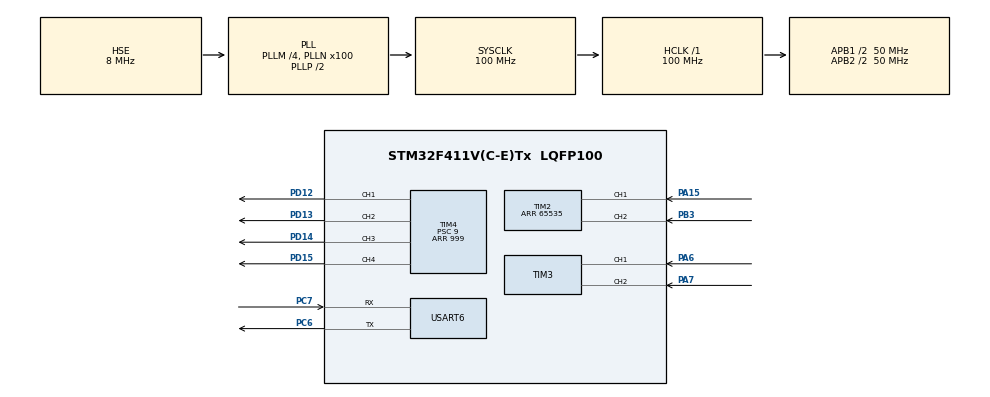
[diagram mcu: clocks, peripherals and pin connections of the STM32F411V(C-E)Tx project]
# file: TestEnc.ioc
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Dma.Request0=USART6_RX
Dma.USART6_RX.0.Direction=DMA_PERIPH_TO_MEMORY
Dma.USART6_RX.0.FIFOMode=DMA_FIFOMODE_DISABLE
Dma.USART6_RX.0.Instance=DMA2_Stream1
Dma.USART6_RX.0.MemDataAlignment=DMA_MDATAALIGN_BYTE
Dma.USART6_RX.0.MemInc=DMA_MINC_ENABLE
Dma.USART6_RX.0.Mode=DMA_NORMAL
Dma.USART6_RX.0.PeriphDataAlignment=DMA_PDATAALIGN_BYTE
Dma.USART6_RX.0.PeriphInc=DMA_PINC_DISABLE
Dma.USART6_RX.0.Priority=DMA_PRIORITY_LOW
Mcu.Family=STM32F4
Mcu.Name=STM32F411V(C-E)Tx
Mcu.Package=LQFP100
NVIC.DMA2_Stream1_IRQn=true\:0\:0\:false\:false\:true\:false\:true\:true
NVIC.PriorityGroup=NVIC_PRIORITYGROUP_4
NVIC.TIM5_IRQn=true\:0\:0\:false\:false\:true\:true\:true\:true
PA13.Mode=Serial_Wire
PA13.Signal=SYS_JTMS-SWDIO
PA14.Mode=Serial_Wire
PA14.Signal=SYS_JTCK-SWCLK
PA15.Signal=S_TIM2_CH1_ETR
PA6.Signal=S_TIM3_CH1
PA7.Signal=S_TIM3_CH2
PB3.Signal=S_TIM2_CH2
PC6.Mode=Asynchronous
PC6.Signal=USART6_TX
PC7.Mode=Asynchronous
PC7.Signal=USART6_RX
PD12.Signal=S_TIM4_CH1
PD13.Signal=S_TIM4_CH2
PD14.Signal=S_TIM4_CH3
PD15.Signal=S_TIM4_CH4
PH0\ -\ OSC_IN.Mode=HSE-External-Oscillator
PH0\ -\ OSC_IN.Signal=RCC_OSC_IN
PH1\ -\ OSC_OUT.Mode=HSE-External-Oscillator
PH1\ -\ OSC_OUT.Signal=RCC_OSC_OUT
ProjectManager.HeapSize=0x200
ProjectManager.StackSize=0x400
ProjectManager.TargetToolchain=MDK-ARM V5
RCC.48MHZClocksFreq_Value=50000000
RCC.AHBFreq_Value=100000000
RCC.APB1CLKDivider=RCC_HCLK_DIV2
RCC.APB1Freq_Value=50000000
RCC.APB1TimFreq_Value=100000000
RCC.APB2CLKDivider=RCC_HCLK_DIV2
RCC.APB2Freq_Value=50000000
RCC.APB2TimFreq_Value=100000000
RCC.CortexFreq_Value=100000000
RCC.HCLKFreq_Value=100000000
RCC.HSE_VALUE=8000000
RCC.HSI_VALUE=16000000
RCC.LSE_VALUE=32768
RCC.PLLM=4
RCC.PLLN=100
RCC.PLLSourceVirtual=RCC_PLLSOURCE_HSE
RCC.SYSCLKFreq_VALUE=100000000
RCC.SYSCLKSource=RCC_SYSCLKSOURCE_PLLCLK
RCC.VCOOutputFreq_Value=200000000
SH.S_TIM2_CH1_ETR.0=TIM2_CH1,Encoder_Interface
SH.S_TIM2_CH2.0=TIM2_CH2,Encoder_Interface
SH.S_TIM3_CH1.0=TIM3_CH1,Encoder_Interface
SH.S_TIM3_CH2.0=TIM3_CH2,Encoder_Interface
SH.S_TIM4_CH1.0=TIM4_CH1,PWM Generation1 CH1
SH.S_TIM4_CH2.0=TIM4_CH2,PWM Generation2 CH2
SH.S_TIM4_CH3.0=TIM4_CH3,PWM Generation3 CH3
SH.S_TIM4_CH4.0=TIM4_CH4,PWM Generation4 CH4
TIM2.EncoderMode=TIM_ENCODERMODE_TI12
TIM2.Period=65535
TIM3.EncoderMode=TIM_ENCODERMODE_TI12
TIM4.Channel-PWM\ Generation1\ CH1=TIM_CHANNEL_1
TIM4.Channel-PWM\ Generation2\ CH2=TIM_CHANNEL_2
TIM4.Channel-PWM\ Generation3\ CH3=TIM_CHANNEL_3
TIM4.Channel-PWM\ Generation4\ CH4=TIM_CHANNEL_4
TIM4.Period=999
TIM4.Prescaler=9
TIM5.Period=999
TIM5.Prescaler=999
USART6.VirtualMode=VM_ASYNC
VP_TIM5_VS_ClockSourceINT.Mode=Internal
board=custom

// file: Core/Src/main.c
/* USER CODE BEGIN Header */
/**
  ******************************************************************************
  * @file           : main.c
  * @brief          : Main program body
  ******************************************************************************
  * @attention
  *
  * Copyright (c) 2023 STMicroelectronics.
  * All rights reserved.
  *
  * This software is licensed under terms that can be found in the LICENSE file
  * in the root directory of this software component.
  * If no LICENSE file comes with this software, it is provided AS-IS.
  *
  ******************************************************************************
  */
/* USER CODE END Header */
#include "main.h"

/* USER CODE BEGIN Includes */
#include "string.h"
#include "math.h"
#include "stdio.h"
#include <stdlib.h>
/* USER CODE END Includes */

TIM_HandleTypeDef htim2;
TIM_HandleTypeDef htim3;
TIM_HandleTypeDef htim4;
TIM_HandleTypeDef htim5;

UART_HandleTypeDef huart6;
DMA_HandleTypeDef hdma_usart6_rx;

/* USER CODE BEGIN PV */
volatile short xungencR, xungencL;

int time_send = 0;
char stmros[12]	={0}, rosstm[10] = {0};
char *TXdata;
float speedR, speedL, motor_left_set, motor_right_set,
			ekR, ek1R, ek2R, ukR, uk1R,
			ekL, ek1L, ek2L, ukL, uk1L, setp;
float kp=5, ki=350, kd=0.01, T=0.01;
union sendData
{
	float d;
	unsigned char data[4];
}leftVelNow, rightVelNow;
union receiveData
{
	float d;
	unsigned char data[4];

}leftVelSet, rightVelSet;
uint8_t rx_buffer[4];
volatile uint8_t rx_index = 0;
/* USER CODE END PV */

void SystemClock_Config(void);
static void MX_GPIO_Init(void);
static void MX_DMA_Init(void);
static void MX_TIM5_Init(void);
static void MX_TIM3_Init(void);
static void MX_TIM2_Init(void);
static void MX_TIM4_Init(void);
static void MX_USART6_UART_Init(void);

int main(void)
{

  /* MCU Configuration--------------------------------------------------------*/

  /* Reset of all peripherals, Initializes the Flash interface and the Systick. */
  HAL_Init();

  /* Configure the system clock */
  SystemClock_Config();

  /* Initialize all configured peripherals */
  MX_GPIO_Init();
  MX_DMA_Init();
  MX_TIM5_Init();
  MX_TIM3_Init();
  MX_TIM2_Init();
  MX_TIM4_Init();
  MX_USART6_UART_Init();
  /* USER CODE BEGIN 2 */
	HAL_TIM_Base_Start_IT(&htim5);
	HAL_TIM_Encoder_Start(&htim2, TIM_CHANNEL_1 | TIM_CHANNEL_2);
	HAL_TIM_Encoder_Start(&htim3, TIM_CHANNEL_1 | TIM_CHANNEL_2);
	HAL_TIM_PWM_Start(&htim4,TIM_CHANNEL_1);
	HAL_TIM_PWM_Start(&htim4,TIM_CHANNEL_2);
	HAL_TIM_PWM_Start(&htim4,TIM_CHANNEL_3);
	HAL_TIM_PWM_Start(&htim4,TIM_CHANNEL_4);
  /* USER CODE END 2 */

  /* Infinite loop */
                                 while (1)
  {

  }
}

void SystemClock_Config(void)
{
  RCC_OscInitTypeDef RCC_OscInitStruct = {0};
  RCC_ClkInitTypeDef RCC_ClkInitStruct = {0};

  /** Configure the main internal regulator output voltage
  */
  __HAL_RCC_PWR_CLK_ENABLE();
  __HAL_PWR_VOLTAGESCALING_CONFIG(PWR_REGULATOR_VOLTAGE_SCALE1);

  /** Initializes the RCC Oscillators according to the specified parameters
  * in the RCC_OscInitTypeDef structure.
  */
  RCC_OscInitStruct.OscillatorType = RCC_OSCILLATORTYPE_HSE;
  RCC_OscInitStruct.HSEState = RCC_HSE_ON;
  RCC_OscInitStruct.PLL.PLLState = RCC_PLL_ON;
  RCC_OscInitStruct.PLL.PLLSource = RCC_PLLSOURCE_HSE;
  RCC_OscInitStruct.PLL.PLLM = 4;
  RCC_OscInitStruct.PLL.PLLN = 100;
  RCC_OscInitStruct.PLL.PLLP = RCC_PLLP_DIV2;
  RCC_OscInitStruct.PLL.PLLQ = 4;
  if (HAL_RCC_OscConfig(&RCC_OscInitStruct) != HAL_OK)
  {
    Error_Handler();
  }

  /** Initializes the CPU, AHB and APB buses clocks
  */
  RCC_ClkInitStruct.ClockType = RCC_CLOCKTYPE_HCLK|RCC_CLOCKTYPE_SYSCLK
                              |RCC_CLOCKTYPE_PCLK1|RCC_CLOCKTYPE_PCLK2;
  RCC_ClkInitStruct.SYSCLKSource = RCC_SYSCLKSOURCE_PLLCLK;
  RCC_ClkInitStruct.AHBCLKDivider = RCC_SYSCLK_DIV1;
  RCC_ClkInitStruct.APB1CLKDivider = RCC_HCLK_DIV2;
  RCC_ClkInitStruct.APB2CLKDivider = RCC_HCLK_DIV2;

  if (HAL_RCC_ClockConfig(&RCC_ClkInitStruct, FLASH_LATENCY_3) != HAL_OK)
  {
    Error_Handler();
  }
}

static void MX_TIM2_Init(void)
{

  TIM_Encoder_InitTypeDef sConfig = {0};
  TIM_MasterConfigTypeDef sMasterConfig = {0};

  htim2.Instance = TIM2;
  htim2.Init.Prescaler = 0;
  htim2.Init.CounterMode = TIM_COUNTERMODE_UP;
  htim2.Init.Period = 65535;
  htim2.Init.ClockDivision = TIM_CLOCKDIVISION_DIV1;
  htim2.Init.AutoReloadPreload = TIM_AUTORELOAD_PRELOAD_DISABLE;
  sConfig.EncoderMode = TIM_ENCODERMODE_TI12;
  sConfig.IC1Polarity = TIM_ICPOLARITY_RISING;
  sConfig.IC1Selection = TIM_ICSELECTION_DIRECTTI;
  sConfig.IC1Prescaler = TIM_ICPSC_DIV1;
  sConfig.IC1Filter = 0;
  sConfig.IC2Polarity = TIM_ICPOLARITY_RISING;
  sConfig.IC2Selection = TIM_ICSELECTION_DIRECTTI;
  sConfig.IC2Prescaler = TIM_ICPSC_DIV1;
  sConfig.IC2Filter = 0;
  if (HAL_TIM_Encoder_Init(&htim2, &sConfig) != HAL_OK)
  {
    Error_Handler();
  }
  sMasterConfig.MasterOutputTrigger = TIM_TRGO_RESET;
  sMasterConfig.MasterSlaveMode = TIM_MASTERSLAVEMODE_DISABLE;
  if (HAL_TIMEx_MasterConfigSynchronization(&htim2, &sMasterConfig) != HAL_OK)
  {
    Error_Handler();
  }

}

static void MX_TIM3_Init(void)
{

  TIM_Encoder_InitTypeDef sConfig = {0};
  TIM_MasterConfigTypeDef sMasterConfig = {0};

  htim3.Instance = TIM3;
  htim3.Init.Prescaler = 0;
  htim3.Init.CounterMode = TIM_COUNTERMODE_UP;
  htim3.Init.Period = 65535;
  htim3.Init.ClockDivision = TIM_CLOCKDIVISION_DIV1;
  htim3.Init.AutoReloadPreload = TIM_AUTORELOAD_PRELOAD_DISABLE;
  sConfig.EncoderMode = TIM_ENCODERMODE_TI12;
  sConfig.IC1Polarity = TIM_ICPOLARITY_RISING;
  sConfig.IC1Selection = TIM_ICSELECTION_DIRECTTI;
  sConfig.IC1Prescaler = TIM_ICPSC_DIV1;
  sConfig.IC1Filter = 0;
  sConfig.IC2Polarity = TIM_ICPOLARITY_RISING;
  sConfig.IC2Selection = TIM_ICSELECTION_DIRECTTI;
  sConfig.IC2Prescaler = TIM_ICPSC_DIV1;
  sConfig.IC2Filter = 0;
  if (HAL_TIM_Encoder_Init(&htim3, &sConfig) != HAL_OK)
  {
    Error_Handler();
  }
  sMasterConfig.MasterOutputTrigger = TIM_TRGO_RESET;
  sMasterConfig.MasterSlaveMode = TIM_MASTERSLAVEMODE_DISABLE;
  if (HAL_TIMEx_MasterConfigSynchronization(&htim3, &sMasterConfig) != HAL_OK)
  {
    Error_Handler();
  }

}

static void MX_TIM4_Init(void)
{

  TIM_MasterConfigTypeDef sMasterConfig = {0};
  TIM_OC_InitTypeDef sConfigOC = {0};

  htim4.Instance = TIM4;
  htim4.Init.Prescaler = 9;
  htim4.Init.CounterMode = TIM_COUNTERMODE_UP;
  htim4.Init.Period = 999;
  htim4.Init.ClockDivision = TIM_CLOCKDIVISION_DIV1;
  htim4.Init.AutoReloadPreload = TIM_AUTORELOAD_PRELOAD_DISABLE;
  if (HAL_TIM_PWM_Init(&htim4) != HAL_OK)
  {
    Error_Handler();
  }
  sMasterConfig.MasterOutputTrigger = TIM_TRGO_RESET;
  sMasterConfig.MasterSlaveMode = TIM_MASTERSLAVEMODE_DISABLE;
  if (HAL_TIMEx_MasterConfigSynchronization(&htim4, &sMasterConfig) != HAL_OK)
  {
    Error_Handler();
  }
  sConfigOC.OCMode = TIM_OCMODE_PWM1;
  sConfigOC.Pulse = 0;
  sConfigOC.OCPolarity = TIM_OCPOLARITY_HIGH;
  sConfigOC.OCFastMode = TIM_OCFAST_DISABLE;
  if (HAL_TIM_PWM_ConfigChannel(&htim4, &sConfigOC, TIM_CHANNEL_1) != HAL_OK)
  {
    Error_Handler();
  }
  if (HAL_TIM_PWM_ConfigChannel(&htim4, &sConfigOC, TIM_CHANNEL_2) != HAL_OK)
  {
    Error_Handler();
  }
  if (HAL_TIM_PWM_ConfigChannel(&htim4, &sConfigOC, TIM_CHANNEL_3) != HAL_OK)
  {
    Error_Handler();
  }
  if (HAL_TIM_PWM_ConfigChannel(&htim4, &sConfigOC, TIM_CHANNEL_4) != HAL_OK)
  {
    Error_Handler();
  }
  HAL_TIM_MspPostInit(&htim4);

}

static void MX_TIM5_Init(void)
{

  TIM_ClockConfigTypeDef sClockSourceConfig = {0};
  TIM_MasterConfigTypeDef sMasterConfig = {0};

  htim5.Instance = TIM5;
  htim5.Init.Prescaler = 999;
  htim5.Init.CounterMode = TIM_COUNTERMODE_UP;
  htim5.Init.Period = 999;
  htim5.Init.ClockDivision = TIM_CLOCKDIVISION_DIV1;
  htim5.Init.AutoReloadPreload = TIM_AUTORELOAD_PRELOAD_DISABLE;
  if (HAL_TIM_Base_Init(&htim5) != HAL_OK)
  {
    Error_Handler();
  }
  sClockSourceConfig.ClockSource = TIM_CLOCKSOURCE_INTERNAL;
  if (HAL_TIM_ConfigClockSource(&htim5, &sClockSourceConfig) != HAL_OK)
  {
    Error_Handler();
  }
  sMasterConfig.MasterOutputTrigger = TIM_TRGO_RESET;
  sMasterConfig.MasterSlaveMode = TIM_MASTERSLAVEMODE_DISABLE;
  if (HAL_TIMEx_MasterConfigSynchronization(&htim5, &sMasterConfig) != HAL_OK)
  {
    Error_Handler();
  }

}

static void MX_USART6_UART_Init(void)
{

  huart6.Instance = USART6;
  huart6.Init.BaudRate = 115200;
  huart6.Init.WordLength = UART_WORDLENGTH_8B;
  huart6.Init.StopBits = UART_STOPBITS_1;
  huart6.Init.Parity = UART_PARITY_NONE;
  huart6.Init.Mode = UART_MODE_TX_RX;
  huart6.Init.HwFlowCtl = UART_HWCONTROL_NONE;
  huart6.Init.OverSampling = UART_OVERSAMPLING_16;
  if (HAL_UART_Init(&huart6) != HAL_OK)
  {
    Error_Handler();
  }

}

static void MX_DMA_Init(void)
{

  /* DMA controller clock enable */
  __HAL_RCC_DMA2_CLK_ENABLE();

  /* DMA interrupt init */
  /* DMA2_Stream1_IRQn interrupt configuration */
  HAL_NVIC_SetPriority(DMA2_Stream1_IRQn, 0, 0);
  HAL_NVIC_EnableIRQ(DMA2_Stream1_IRQn);

}

static void MX_GPIO_Init(void)
{

  /* GPIO Ports Clock Enable */
  __HAL_RCC_GPIOH_CLK_ENABLE();
  __HAL_RCC_GPIOA_CLK_ENABLE();
  __HAL_RCC_GPIOD_CLK_ENABLE();
  __HAL_RCC_GPIOC_CLK_ENABLE();
  __HAL_RCC_GPIOB_CLK_ENABLE();

}

/* USER CODE BEGIN 4 */
void HAL_TIM_PeriodElapsedCallback(TIM_HandleTypeDef *htim)
{
	if(htim->Instance==htim5.Instance)
	{

		xungencR = __HAL_TIM_GET_COUNTER(&htim3);
		__HAL_TIM_GET_COUNTER(&htim3) = 0;
		speedR = (float)xungencR*100*60/1920;

		ekR = motor_right_set - speedR;
		ukR = uk1R+kp*(ekR-ek1R)+(ki*T/2)*(ekR+ek1R)+kd/T*(ekR-2*ek1R+ek2R);
		ek2R = ek1R;
		ek1R=ekR;
		uk1R=ukR;
		if (ukR>999) ukR=999;
			else if (ukR<-999) ukR =-999;
		if (uk1R>999) uk1R=999;
			else if (uk1R<-999) uk1R =-999;
		if (motor_right_set>0)
		{__HAL_TIM_SetCompare(&htim4,TIM_CHANNEL_3, ukR);
		 __HAL_TIM_SetCompare(&htim4,TIM_CHANNEL_4, 0);
		}
		else
		{__HAL_TIM_SetCompare(&htim4,TIM_CHANNEL_3, 0);
		 __HAL_TIM_SetCompare(&htim4,TIM_CHANNEL_4, -ukR);
		}

		xungencL	= __HAL_TIM_GET_COUNTER(&htim2);
		__HAL_TIM_GET_COUNTER(&htim2) = 0;
		speedL = (float)xungencL*100*60/1920;

		ekL = motor_left_set - speedL;
		ukL = uk1L+kp*(ekL-ek1L)+(ki*T/2)*(ekL+ek1L)+kd/T*(ekL-2*ek1L+ek2L);
		ek2L = ek1L;
		ek1L=ekL;
		uk1L=ukL;
		if (ukL>999) ukL=999;
		else if (ukL<-999) ukL =-999;
		if (uk1L>999) uk1L=999;
		else if (uk1L<-999) uk1L =-999;
		if (motor_left_set>0)
		{__HAL_TIM_SetCompare(&htim4,TIM_CHANNEL_1, ukL);
		 __HAL_TIM_SetCompare(&htim4,TIM_CHANNEL_2, 0);
		}
		else
		{__HAL_TIM_SetCompare(&htim4,TIM_CHANNEL_1, 0);
		 __HAL_TIM_SetCompare(&htim4,TIM_CHANNEL_2, -ukL);
		}

		leftVelNow.d = speedL;
		rightVelNow.d = speedR;

		stmros[0] = 0x24;
		stmros[1] = 0x24;

		for(int i = 0; i < 4; i++)
		{
			stmros[i+2] = leftVelNow.data[i];         // buf[2] buf[3]  buf[4] buf[5]
			stmros[i+6] = rightVelNow.data[i];        // buf[6] buf[7]  buf[8] buf[9]

		}
		stmros[10] = 0x0D;
		stmros[11] = 0x0A;
		if (time_send < 5)
		{
		time_send++;
		}
		else
		{
		HAL_UART_Transmit(&huart6, (uint8_t *) stmros, sizeof(stmros),1000);
		time_send = 0;
		}

		HAL_UART_Receive_DMA(&huart6, (uint8_t *)rosstm, sizeof(rosstm));
		if (rosstm[0] == 0x55 && rosstm[1] == 0xAA){
			for (int k = 0 ; k < 4 ; k++)
				 {
				   leftVelSet.data[k] =rosstm[k+2];
				   rightVelSet.data[k] =rosstm[k+6];
				  }
			motor_left_set = (float)leftVelSet.d;
			motor_right_set = (float)rightVelSet.d;
		}

	}
}

/* USER CODE END 4 */

void Error_Handler(void)
{
  __disable_irq();
  while (1)
  {
  }
}
